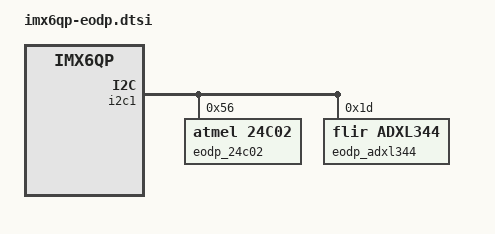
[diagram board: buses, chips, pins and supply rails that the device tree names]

/*
 * Copyright 2022 FLIR Systems.
 *
 * The code contained herein is licensed under the GNU General Public
 * License. You may obtain a copy of the GNU General Public License
 * Version 2 or later at the following locations:
 *
 * http://www.opensource.org/licenses/gpl-license.html
 * http://www.gnu.org/copyleft/gpl.html
 */

#include <dt-bindings/gpio/gpio.h>
#include <dt-bindings/interrupt-controller/irq.h>



/*FLIR i2c1 bus*/
&i2c1 {

	/* EEPROM */
	eodp_24c02: eodp_24c02@56 {
		compatible = "atmel,24c02";
		reg = <0x56>;
		pagesize = <16>;
	};

    /* ACCELEROMETER */
    eodp_adxl344: eodp_adxl344@1d {
		compatible = "flir,adxl344";
		reg = <0x1d>;
		// Remap axes for appcore
		axis-map-x = <0>;
		axis-map-y = <2>;
		axis-map-z = <1>;
		negate-y;
	};
}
